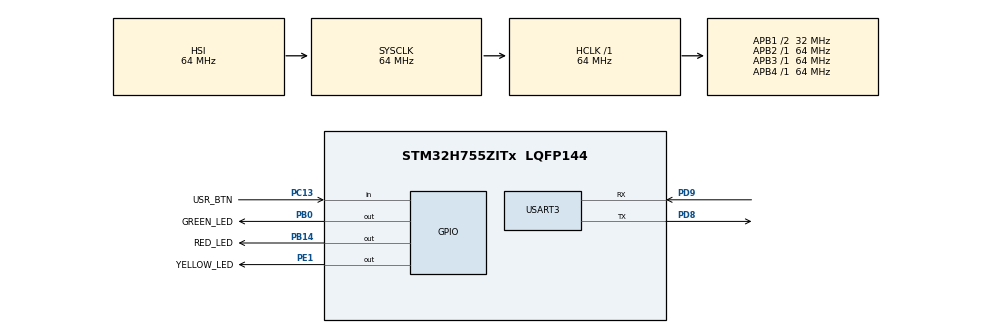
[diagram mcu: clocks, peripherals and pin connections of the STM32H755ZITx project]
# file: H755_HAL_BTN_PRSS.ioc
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CORTEX_M7.default_mode_Activation=1
CortexM4.IPs=CORTEX_M4\:I,FATFS_M4\:I,FREERTOS_M4\:I,IWDG2\:I,OPENAMP_M4\:I,PDM2PCM_M4\:I,PWR,RCC,RESMGR_UTILITY,SYS_M4\:I,USB_DEVICE_M4\:I,USB_HOST_M4\:I,VREFBUF,WWDG2\:I,GPIO,DMA,BDMA,MDMA,NVIC2\:I
CortexM7.IPs=CORTEX_M7\:I,FATFS_M7\:I,FREERTOS_M7\:I,IWDG1\:I,OPENAMP_M7\:I,PDM2PCM_M7\:I,PWR\:I,RCC\:I,RESMGR_UTILITY\:I,SYS\:I,USB_DEVICE_M7\:I,USB_HOST_M7\:I,VREFBUF\:I,WWDG1\:I,GPIO\:I,DMA\:I,BDMA\:I,MDMA\:I,NVIC1\:I,USART3\:I
CortexM7.Pins=PC13,PB0,PB14,PE1
Mcu.Family=STM32H7
Mcu.Name=STM32H755ZITx
Mcu.Package=LQFP144
NVIC1.PriorityGroup=NVIC_PRIORITYGROUP_4
NVIC2.PriorityGroup=NVIC_PRIORITYGROUP_4
PB0.GPIO_Label=GREEN_LED
PB0.PinAttribute=CortexM7
PB0.Signal=GPIO_Output
PB14.GPIO_Label=RED_LED
PB14.PinAttribute=CortexM7
PB14.Signal=GPIO_Output
PC13.GPIO_Label=USR_BTN
PC13.GPIO_PuPd=GPIO_NOPULL
PC13.PinAttribute=CortexM7
PC13.Signal=GPIO_Input
PD8.Mode=Asynchronous
PD8.PinAttribute=CortexM7
PD8.Signal=USART3_TX
PD9.Mode=Asynchronous
PD9.PinAttribute=CortexM7
PD9.Signal=USART3_RX
PE1.GPIO_Label=YELLOW_LED
PE1.PinAttribute=CortexM7
PE1.Signal=GPIO_Output
ProjectManager.HeapSize=M4-0x200,M7-0x200
ProjectManager.StackSize=M4-0x400,M7-0x400
ProjectManager.TargetToolchain=STM32CubeIDE
RCC.ADCFreq_Value=129000000
RCC.APB1Freq_Value=32000000
RCC.APB2Freq_Value=64000000
RCC.APB3Freq_Value=64000000
RCC.APB4Freq_Value=64000000
RCC.CortexFreq_Value=64000000
RCC.D2PPRE1=RCC_APB1_DIV2
RCC.HCLKFreq_Value=64000000
RCC.SYSCLKFreq_VALUE=64000000
RCC.USBFreq_Value=129000000
SYS.userName=SYS_M7
USART3.VirtualMode-Asynchronous=VM_ASYNC
VP_SYS_M4_VS_Systick.Mode=SysTick
board=custom

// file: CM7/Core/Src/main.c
/* USER CODE BEGIN Header */
/**
  ******************************************************************************
  * @file           : main.c
  * @brief          : Main program body
  ******************************************************************************
  * @attention
  *
  * Copyright (c) 2026 STMicroelectronics.
  * All rights reserved.
  *
  * This software is licensed under terms that can be found in the LICENSE file
  * in the root directory of this software component.
  * If no LICENSE file comes with this software, it is provided AS-IS.
  *
  ******************************************************************************
  */
/* USER CODE END Header */
#include "main.h"
#include <string.h>
/* USER CODE BEGIN Includes */
#include "button.h"
#include "uart.h"
/* USER CODE END Includes */

/* USER CODE BEGIN PD */

/* DUAL_CORE_BOOT_SYNC_SEQUENCE: Define for dual core boot synchronization    */
/*                             demonstration code based on hardware semaphore */
/* This define is present in both CM7/CM4 projects                            */
/* To comment when developping/debugging on a single core                     */
#define DUAL_CORE_BOOT_SYNC_SEQUENCE

#if defined(DUAL_CORE_BOOT_SYNC_SEQUENCE)
#ifndef HSEM_ID_0
#define HSEM_ID_0 (0U) /* HW semaphore 0*/
#endif
#endif /* DUAL_CORE_BOOT_SYNC_SEQUENCE */

/* USER CODE END PD */

UART_HandleTypeDef huart3;

void SystemClock_Config(void);
static void MPU_Config(void);
static void MX_GPIO_Init(void);
static void MX_USART3_UART_Init(void);

int main(void)
{

/* USER CODE BEGIN Boot_Mode_Sequence_0 */
#if defined(DUAL_CORE_BOOT_SYNC_SEQUENCE)
  int32_t timeout;
#endif /* DUAL_CORE_BOOT_SYNC_SEQUENCE */
/* USER CODE END Boot_Mode_Sequence_0 */

  /* MPU Configuration--------------------------------------------------------*/
  MPU_Config();

/* USER CODE BEGIN Boot_Mode_Sequence_1 */
#if defined(DUAL_CORE_BOOT_SYNC_SEQUENCE)
  /* Wait until CPU2 boots and enters in stop mode or timeout*/
  timeout = 0xFFFF;
  while((__HAL_RCC_GET_FLAG(RCC_FLAG_D2CKRDY) != RESET) && (timeout-- > 0));
  if ( timeout < 0 )
  {
  Error_Handler();
  }
#endif /* DUAL_CORE_BOOT_SYNC_SEQUENCE */
/* USER CODE END Boot_Mode_Sequence_1 */
  /* MCU Configuration--------------------------------------------------------*/

  /* Reset of all peripherals, Initializes the Flash interface and the Systick. */
  HAL_Init();

  /* Configure the system clock */
  SystemClock_Config();
/* USER CODE BEGIN Boot_Mode_Sequence_2 */
#if defined(DUAL_CORE_BOOT_SYNC_SEQUENCE)
/* When system initialization is finished, Cortex-M7 will release Cortex-M4 by means of
HSEM notification */
/*HW semaphore Clock enable*/
__HAL_RCC_HSEM_CLK_ENABLE();
/*Take HSEM */
HAL_HSEM_FastTake(HSEM_ID_0);
/*Release HSEM in order to notify the CPU2(CM4)*/
HAL_HSEM_Release(HSEM_ID_0,0);
/* wait until CPU2 wakes up from stop mode */
timeout = 0xFFFF;
while((__HAL_RCC_GET_FLAG(RCC_FLAG_D2CKRDY) == RESET) && (timeout-- > 0));
if ( timeout < 0 )
{
Error_Handler();
}
#endif /* DUAL_CORE_BOOT_SYNC_SEQUENCE */
/* USER CODE END Boot_Mode_Sequence_2 */

  /* Initialize all configured peripherals */
  /* USER CODE BEGIN 2 */
	MX_GPIO_Init();
	MX_USART3_UART_Init();
	button_init();
  /* USER CODE END 2 */

  /* Infinite loop */
  /* USER CODE BEGIN WHILE */
  while (1)
  {
	  button_update();

	  button_event_t event = button_get_event();

	  if(event == BTN_EVENT_PRESSED)
	  {
	      send_uart("BUTTON PRESSED");
	  }
	  else if (event == BTN_EVENT_RELEASED){
		  send_uart("BUTTON RELEASED");
	  }
    /* USER CODE END WHILE */

  }
}

void SystemClock_Config(void)
{
  RCC_OscInitTypeDef RCC_OscInitStruct = {0};
  RCC_ClkInitTypeDef RCC_ClkInitStruct = {0};

  /** Supply configuration update enable
  */
  HAL_PWREx_ConfigSupply(PWR_DIRECT_SMPS_SUPPLY);

  /** Configure the main internal regulator output voltage
  */
  __HAL_PWR_VOLTAGESCALING_CONFIG(PWR_REGULATOR_VOLTAGE_SCALE3);

  while(!__HAL_PWR_GET_FLAG(PWR_FLAG_VOSRDY)) {}

  /** Initializes the RCC Oscillators according to the specified parameters
  * in the RCC_OscInitTypeDef structure.
  */
  RCC_OscInitStruct.OscillatorType = RCC_OSCILLATORTYPE_HSI;
  RCC_OscInitStruct.HSIState = RCC_HSI_DIV1;
  RCC_OscInitStruct.HSICalibrationValue = RCC_HSICALIBRATION_DEFAULT;
  RCC_OscInitStruct.PLL.PLLState = RCC_PLL_NONE;
  if (HAL_RCC_OscConfig(&RCC_OscInitStruct) != HAL_OK)
  {
    Error_Handler();
  }

  /** Initializes the CPU, AHB and APB buses clocks
  */
  RCC_ClkInitStruct.ClockType = RCC_CLOCKTYPE_HCLK|RCC_CLOCKTYPE_SYSCLK
                              |RCC_CLOCKTYPE_PCLK1|RCC_CLOCKTYPE_PCLK2
                              |RCC_CLOCKTYPE_D3PCLK1|RCC_CLOCKTYPE_D1PCLK1;
  RCC_ClkInitStruct.SYSCLKSource = RCC_SYSCLKSOURCE_HSI;
  RCC_ClkInitStruct.SYSCLKDivider = RCC_SYSCLK_DIV1;
  RCC_ClkInitStruct.AHBCLKDivider = RCC_HCLK_DIV1;
  RCC_ClkInitStruct.APB3CLKDivider = RCC_APB3_DIV1;
  RCC_ClkInitStruct.APB1CLKDivider = RCC_APB1_DIV2;
  RCC_ClkInitStruct.APB2CLKDivider = RCC_APB2_DIV1;
  RCC_ClkInitStruct.APB4CLKDivider = RCC_APB4_DIV1;

  if (HAL_RCC_ClockConfig(&RCC_ClkInitStruct, FLASH_LATENCY_1) != HAL_OK)
  {
    Error_Handler();
  }
}

static void MX_USART3_UART_Init(void)
{

  huart3.Instance = USART3;
  huart3.Init.BaudRate = 115200;
  huart3.Init.WordLength = UART_WORDLENGTH_8B;
  huart3.Init.StopBits = UART_STOPBITS_1;
  huart3.Init.Parity = UART_PARITY_NONE;
  huart3.Init.Mode = UART_MODE_TX_RX;
  huart3.Init.HwFlowCtl = UART_HWCONTROL_NONE;
  huart3.Init.OverSampling = UART_OVERSAMPLING_16;
  huart3.Init.OneBitSampling = UART_ONE_BIT_SAMPLE_DISABLE;
  huart3.Init.ClockPrescaler = UART_PRESCALER_DIV1;
  huart3.AdvancedInit.AdvFeatureInit = UART_ADVFEATURE_NO_INIT;
  if (HAL_UART_Init(&huart3) != HAL_OK)
  {
    Error_Handler();
  }
  if (HAL_UARTEx_SetTxFifoThreshold(&huart3, UART_TXFIFO_THRESHOLD_1_8) != HAL_OK)
  {
    Error_Handler();
  }
  if (HAL_UARTEx_SetRxFifoThreshold(&huart3, UART_RXFIFO_THRESHOLD_1_8) != HAL_OK)
  {
    Error_Handler();
  }
  if (HAL_UARTEx_DisableFifoMode(&huart3) != HAL_OK)
  {
    Error_Handler();
  }

}

static void MX_GPIO_Init(void)
{
  GPIO_InitTypeDef GPIO_InitStruct = {0};

  /* GPIO Ports Clock Enable */
  __HAL_RCC_GPIOC_CLK_ENABLE();
  __HAL_RCC_GPIOB_CLK_ENABLE();
  __HAL_RCC_GPIOD_CLK_ENABLE();
  __HAL_RCC_GPIOE_CLK_ENABLE();

  /*Configure GPIO pin Output Level */
  HAL_GPIO_WritePin(GPIOB, GREEN_LED_Pin|RED_LED_Pin, GPIO_PIN_RESET);

  /*Configure GPIO pin Output Level */
  HAL_GPIO_WritePin(YELLOW_LED_GPIO_Port, YELLOW_LED_Pin, GPIO_PIN_RESET);

  /*Configure GPIO pin : USR_BTN_Pin */
  GPIO_InitStruct.Pin = USR_BTN_Pin;
  GPIO_InitStruct.Mode = GPIO_MODE_INPUT;
  GPIO_InitStruct.Pull = GPIO_NOPULL;
  HAL_GPIO_Init(USR_BTN_GPIO_Port, &GPIO_InitStruct);

  /*Configure GPIO pins : GREEN_LED_Pin RED_LED_Pin */
  GPIO_InitStruct.Pin = GREEN_LED_Pin|RED_LED_Pin;
  GPIO_InitStruct.Mode = GPIO_MODE_OUTPUT_PP;
  GPIO_InitStruct.Pull = GPIO_NOPULL;
  GPIO_InitStruct.Speed = GPIO_SPEED_FREQ_LOW;
  HAL_GPIO_Init(GPIOB, &GPIO_InitStruct);

  /*Configure GPIO pin : YELLOW_LED_Pin */
  GPIO_InitStruct.Pin = YELLOW_LED_Pin;
  GPIO_InitStruct.Mode = GPIO_MODE_OUTPUT_PP;
  GPIO_InitStruct.Pull = GPIO_NOPULL;
  GPIO_InitStruct.Speed = GPIO_SPEED_FREQ_LOW;
  HAL_GPIO_Init(YELLOW_LED_GPIO_Port, &GPIO_InitStruct);

}

 /* MPU Configuration */

void MPU_Config(void)
{
  MPU_Region_InitTypeDef MPU_InitStruct = {0};

  /* Disables the MPU */
  HAL_MPU_Disable();

  /** Initializes and configures the Region and the memory to be protected
  */
  MPU_InitStruct.Enable = MPU_REGION_ENABLE;
  MPU_InitStruct.Number = MPU_REGION_NUMBER0;
  MPU_InitStruct.BaseAddress = 0x0;
  MPU_InitStruct.Size = MPU_REGION_SIZE_4GB;
  MPU_InitStruct.SubRegionDisable = 0x87;
  MPU_InitStruct.TypeExtField = MPU_TEX_LEVEL0;
  MPU_InitStruct.AccessPermission = MPU_REGION_NO_ACCESS;
  MPU_InitStruct.DisableExec = MPU_INSTRUCTION_ACCESS_DISABLE;
  MPU_InitStruct.IsShareable = MPU_ACCESS_SHAREABLE;
  MPU_InitStruct.IsCacheable = MPU_ACCESS_NOT_CACHEABLE;
  MPU_InitStruct.IsBufferable = MPU_ACCESS_NOT_BUFFERABLE;

  HAL_MPU_ConfigRegion(&MPU_InitStruct);
  /* Enables the MPU */
  HAL_MPU_Enable(MPU_PRIVILEGED_DEFAULT);

}

void Error_Handler(void)
{
  __disable_irq();
  while (1)
  {
  }
}
